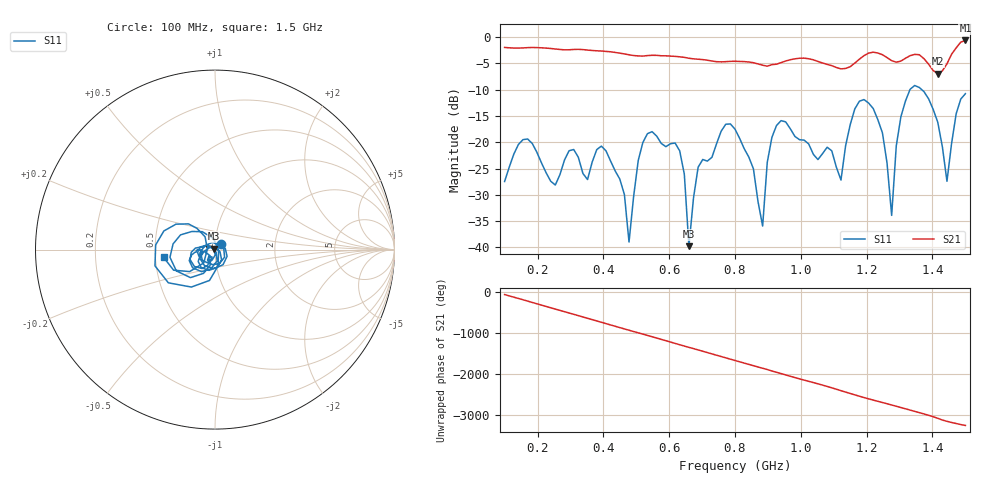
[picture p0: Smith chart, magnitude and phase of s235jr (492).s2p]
! NanoVNA-App
! Date: 2025-09-25 15:07:59
! Start: 100MHz Stop: 1,5GHz Points: 101
! S-Parameter data: F S11 S21 S12 S22
# Hz S RI R 50
!  Frequency  S11_Real  S11_Imag  S21_Real  S21_Imag  S12_Real  S12_Imag  S22_Real  S22_Imag
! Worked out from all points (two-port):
!   101 points, 100 MHz to 1.5 GHz, reference 50 ohm
!   highest |S21| = -0.64 dB at 1.5 GHz (marker M1); lowest = -7.0 dB at 1.416 GHz (marker M2)
!   |S21| within 3 dB of the highest: start of sweep to 609.4 MHz; 1.19 GHz to 1.255 GHz (65.66 MHz wide, 5.37 % of centre) (the widest 2 of 4)
!   lowest |S11| = -39.8 dB at 660 MHz (marker M3), VSWR 1.02, Z = 49.2 + j0.597 ohm
!   |S11| at or under -10 dB: start of sweep to 1.332 GHz; 1.367 GHz to end of sweep
!   S12 and S22 are empty: the file has one direction only
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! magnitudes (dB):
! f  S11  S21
! 100 MHz  -27.5  -2.0
! 170 MHz  -19.4  -2.0
! 338 MHz  -25.9  -2.4
! 408 MHz  -21.6  -2.7
! 478 MHz  -39.0  -3.4
! 520 MHz  -20.1  -3.6
! 576 MHz  -20.2  -3.6
! 632 MHz  -21.6  -3.7
! 660 MHz  -39.8  -4.0
! 688 MHz  -24.7  -4.2
! 800 MHz  -17.5  -4.6
! 884 MHz  -35.9  -5.3
! 926 MHz  -16.8  -5.2
! 1.038 GHz  -22.3  -4.3
! 1.122 GHz  -27.2  -6.0
! 1.206 GHz  -12.5  -3.0
! 1.276 GHz  -33.9  -4.5
! 1.29 GHz  -20.7  -4.8
! 1.332 GHz  -9.9  -3.5
! 1.416 GHz  -16.2  -7.0
! 1.444 GHz  -27.4  -5.1
! 1.5 GHz  -10.8  -0.6
